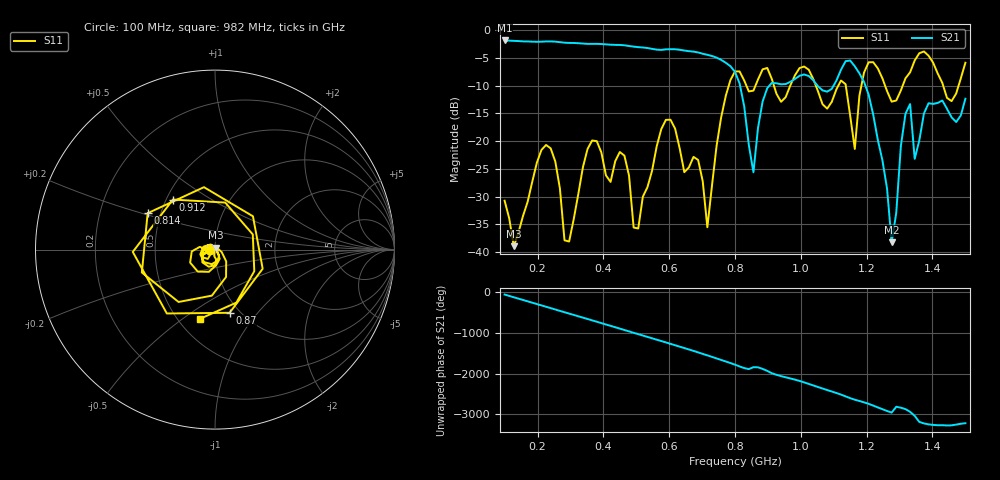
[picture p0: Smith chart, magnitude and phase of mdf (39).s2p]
! NanoVNA-App
! Date: 2025-09-25 15:38:44
! Start: 100MHz Stop: 1,5GHz Points: 101
! S-Parameter data: F S11 S21 S12 S22
# Hz S RI R 50
!  Frequency  S11_Real  S11_Imag  S21_Real  S21_Imag  S12_Real  S12_Imag  S22_Real  S22_Imag
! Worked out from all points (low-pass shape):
!   101 points, 100 MHz to 1.5 GHz, reference 50 ohm
!   highest |S21| = -1.80 dB at 100 MHz (marker M1); lowest = -38.3 dB at 1.276 GHz (marker M2)
!   |S21| within 3 dB of the highest: start of sweep to 739.2 MHz
!   lowest |S11| = -39.0 dB at 128 MHz (marker M3), VSWR 1.02, Z = 50.3 + j1.08 ohm
!   |S11| at or under -10 dB: start of sweep to 780.9 MHz; 1.046 GHz to 1.114 GHz (67.86 MHz wide, 6.29 % of centre); 1.256 GHz to 1.309 GHz (53.17 MHz wide, 4.15 % of centre) (the widest 3 of 7)
!   S12 and S22 are empty: the file has one direction only
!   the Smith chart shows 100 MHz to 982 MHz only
!   S11 on the Smith chart (normalised r, x): 100 MHz: 0.94, -0.01; 814 MHz: 0.42, +0.21; 870 MHz: 0.90, -0.73; 912 MHz: 0.54, +0.35; 982 MHz: 0.64, -0.58
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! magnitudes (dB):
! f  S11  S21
! 100 MHz  -30.8  -1.8
! 128 MHz  -39.0  -1.9
! 212 MHz  -21.6  -2.0
! 282 MHz  -37.9  -2.2
! 338 MHz  -24.7  -2.4
! 464 MHz  -22.6  -2.7
! 506 MHz  -35.8  -3.0
! 576 MHz  -17.8  -3.5
! 716 MHz  -35.6  -4.4
! 800 MHz  -7.4  -7.5
! 814 MHz  -7.4  -9.6
! 856 MHz  -10.9  -25.6
! 870 MHz  -8.8  -17.6
! 912 MHz  -8.8  -9.5
! 982 MHz  -8.1  -8.8
! 1.038 GHz  -8.8  -9.0
! 1.164 GHz  -21.4  -6.5
! 1.192 GHz  -7.6  -9.3
! 1.276 GHz  -12.9  -38.3
! 1.332 GHz  -7.6  -13.3
! 1.346 GHz  -5.4  -23.2
! 1.5 GHz  -5.8  -12.3
